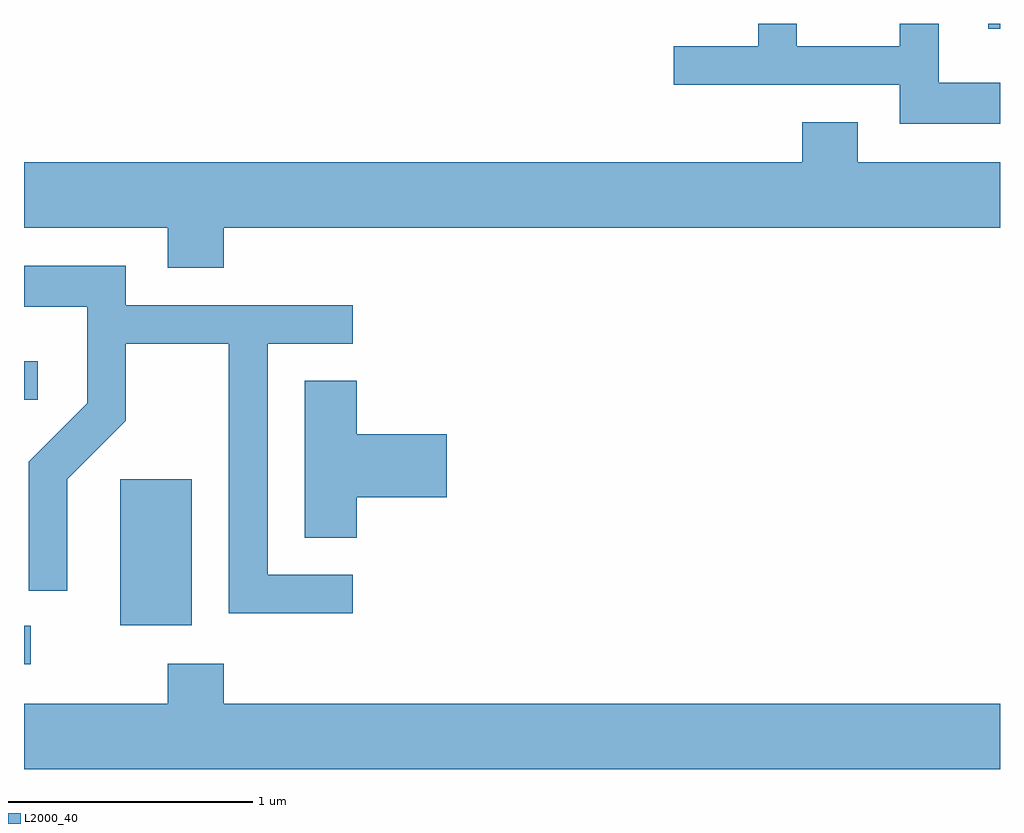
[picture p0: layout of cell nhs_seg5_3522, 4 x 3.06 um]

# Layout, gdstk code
import gdstk
lib = gdstk.Library(unit=1e-6, precision=1e-09)
def R(c, l, rs):  # rectangles x0, y0, x1, y1
    for r in rs: c.add(gdstk.rectangle(r[:2], r[2:], *l))
def P(c, l, *ps):  # polygons
    for p in ps: c.add(gdstk.Polygon(p, *l))
L2000_40 = (2000, 40)

nhs_seg5_3522 = lib.new_cell('nhs_seg5_3522')
R(nhs_seg5_3522, L2000_40, [(289.611,1459.446,289.638,1459.604), (290.006,1459.606,290.299,1460.204), (289.611,1460.531,289.668,1460.689), (293.563,1462.051,293.611,1462.072)])
P(nhs_seg5_3522, L2000_40, [(293.611,1461.829),(293.359,1461.829),(293.359,1462.072),(293.201,1462.072),(293.201,1461.979),(292.779,1461.979),(292.779,1462.072),(292.621,1462.072),(292.621,1461.979),(292.273,1461.979),(292.273,1461.821),(293.201,1461.821),(293.201,1461.661),(293.611,1461.661)],
  [(290.429,1461.236),(293.611,1461.236),(293.611,1461.504),(293.029,1461.504),(293.029,1461.669),(292.801,1461.669),(292.801,1461.504),(289.611,1461.504),(289.611,1461.236),(290.201,1461.236),(290.201,1461.071),(290.429,1461.071)],
  [(290.958,1459.814),(290.609,1459.814),(290.609,1460.761),(290.958,1460.761),(290.958,1460.919),(290.029,1460.919),(290.029,1461.079),(289.611,1461.079),(289.611,1460.911),(289.871,1460.911),(289.871,1460.517),(289.631,1460.277),(289.631,1459.748),(289.789,1459.748),(289.789,1460.204),(290.029,1460.444),(290.029,1460.761),(290.451,1460.761),(290.451,1459.656),(290.958,1459.656)],
  [(290.974,1460.131),(291.344,1460.131),(291.344,1460.389),(290.974,1460.389),(290.974,1460.609),(290.761,1460.609),(290.761,1459.966),(290.974,1459.966)],
  [(293.611,1459.284),(290.429,1459.284),(290.429,1459.449),(290.201,1459.449),(290.201,1459.284),(289.611,1459.284),(289.611,1459.016),(293.611,1459.016)])

lib.write_gds('nhs_seg5_3522.gds')
